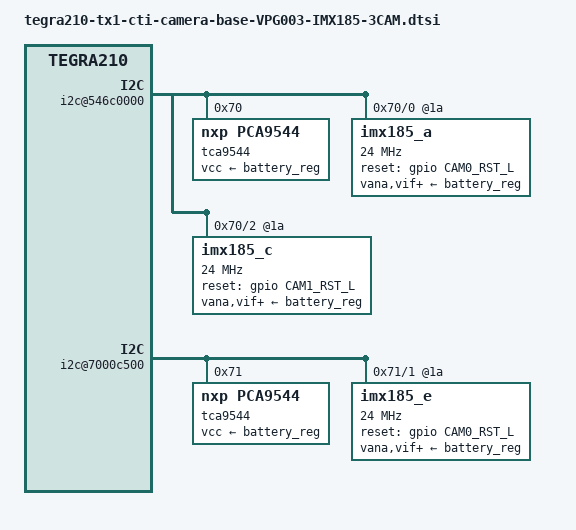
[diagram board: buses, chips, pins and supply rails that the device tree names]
/*
 * Copyright (c) 2017, NVIDIA CORPORATION.  All rights reserved.
 *
 * This program is free software; you can redistribute it and/or modify
 * it under the terms of the GNU General Public License as published by
 * the Free Software Foundation; either version 2 of the License, or
 * (at your option) any later version.
 *
 * This program is distributed in the hope that it will be useful, but WITHOUT
 * ANY WARRANTY; without even the implied warranty of MERCHANTABILITY or
 * FITNESS FOR A PARTICULAR PURPOSE.  See the GNU General Public License for
 * more details.
 *
 * You should have received a copy of the GNU General Public License
 * along with this program.  If not, see <http://www.gnu.org/licenses/>.
 */


#define CAM0_RST_L	TEGRA_GPIO(S, 4)
#define CAM1_RST_L	TEGRA_GPIO(S, 5)
#define CAMERA_I2C_MUX_BUS(x) (0x0B + x)
#define CAMERA_I2C_MUX_BUS2(x) (0x07 + x)

/* camera control gpio definitions */

/ {
	host1x {
		i2c@546c0000 {
			tca9544@70 {
                status = "okay";
				compatible = "nxp,pca9544";
				reg = <0x70>;
				#address-cells = <1>;
				#size-cells = <0>;
				skip_mux_detect = "yes";
				vcc-supply = <&battery_reg>;
				vcc_lp = "vcc";
				force_bus_start = <CAMERA_I2C_MUX_BUS(0)>;

				i2c@0 {
                    status = "okay";
					reg = <0>;
					i2c-mux,deselect-on-exit;
					#address-cells = <1>;
					#size-cells = <0>;
					
					imx185_a@1a {
						/* Define any required hw resources needed by driver */
						/* ie. clocks, io pins, power sources */
						clocks = <&tegra_car TEGRA210_CLK_CLK_OUT_3>;
						clock-names = "clk_out_3";
						clock-frequency = <24000000>;
						mclk = "clk_out_3";
						
						/* imx185 sensor reset gpio from Tegra */
						reset-gpios = <&gpio CAM0_RST_L GPIO_ACTIVE_HIGH>;
						
						vana-supply = <&battery_reg>; 
						vif-supply = <&battery_reg>; 
						vdig-supply = <&battery_reg>; 
					};
                };
                i2c@2 {
                    status = "okay";
                    reg = <2>;
                    i2c-mux,deselect-on-exit;
                    #address-cells = <1>;
                    #size-cells = <0>;
                
                    imx185_c@1a {
                        /* Define any required hw resources needed by driver */
                        /* ie. clocks, io pins, power sources */
                
                        /* imx185 sensor input 24M clock from Tegra */
                        clocks = <&tegra_car TEGRA210_CLK_CLK_OUT_3>;
                        clock-names = "clk_out_3";
                        clock-frequency = <24000000>;
                        mclk = "clk_out_3";
                
                        /* imx185 sensor reset gpio from Tegra */
                        reset-gpios = <&gpio CAM1_RST_L GPIO_ACTIVE_HIGH>;
                
                        /* imx185 sensor board doesn't not get power from Tegra */
                        vana-supply = <&battery_reg>; 
                        vif-supply = <&battery_reg>; 
                        vdig-supply = <&battery_reg>; 
                    };
                };
            };
        };
    };  
};

/ {
    i2c@7000c500 {
        tca9544@71 {
            status = "okay";
            compatible = "nxp,pca9544";
            reg = <0x71>;
            #address-cells = <1>;
            #size-cells = <0>;
            skip_mux_detect = "yes";
            vcc-supply = <&battery_reg>;
            vcc_lp = "vcc";
            force_bus_start = <CAMERA_I2C_MUX_BUS2(0)>;

            i2c@1 {
                status = "okay";
                reg = <1>;
                i2c-mux,deselect-on-exit;
                #address-cells = <1>;
                #size-cells = <0>;
                imx185_e@1a {
                    /* Define any required hw resources needed by driver */
                    /* ie. clocks, io pins, power sources */
                        
                    /* imx185 sensor input 24M clock from Tegra */
                    clocks = <&tegra_car TEGRA210_CLK_CLK_OUT_3>;
                    clock-names = "clk_out_3";
                    clock-frequency = <24000000>;
                    mclk = "clk_out_3";
                        
                    /* imx185 sensor reset gpio from Tegra */
                    reset-gpios = <&gpio CAM0_RST_L GPIO_ACTIVE_HIGH>;
            
                    vana-supply = <&battery_reg>; 
                    vif-supply = <&battery_reg>; 
                    vdig-supply = <&battery_reg>; 
                };
            };
        };  
    };
};
